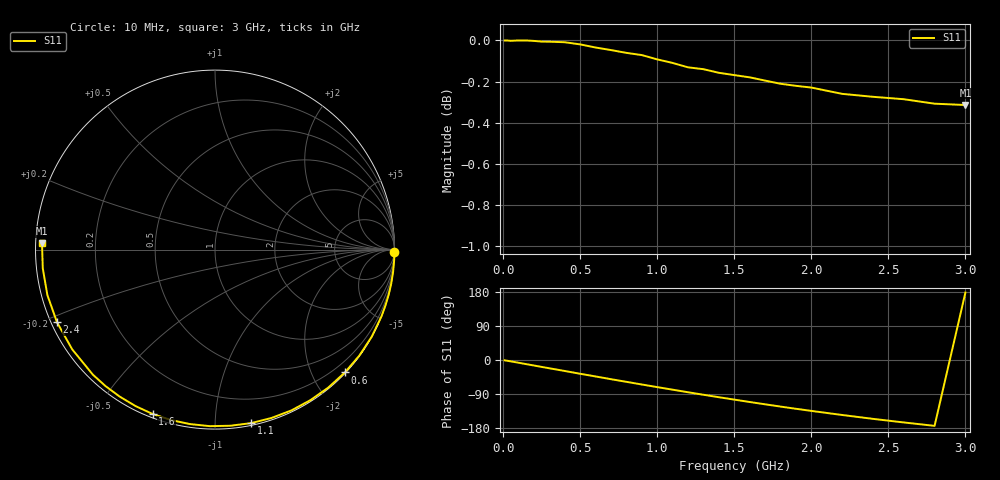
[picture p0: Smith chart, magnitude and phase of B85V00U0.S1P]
! SIEMENS Discrete & RF Semiconductors
! BBY53-03W
! Si Tuning Diode in SOD323
! VR = 5 V
! S-Parameters:  May  1997
# GHz  S  MA  R  50
!  f  S11
! GHz  MAG  ANG
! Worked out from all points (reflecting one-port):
!   30 points, 10 MHz to 3 GHz, reference 50 ohm
!   lowest |S11| = -0.3 dB at 3 GHz (marker M1), VSWR 55.35, Z = 0.904 + j0.916 ohm
!   phase of S11 starts at -1 deg and turns -181 deg over the sweep
!   S11 on the Smith chart (normalised r, x): 10 MHz: open; 600 MHz: 0.01, -2.51; 1.1 GHz: 0.02, -1.23; 1.6 GHz: 0.02, -0.69; 2.4 GHz: 0.02, -0.22; 3 GHz: 0.02, +0.02
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0.01  1 -0.8
0.1  1 -7.2
0.15  1 -10.9
0.2  0.9997 -14.5
0.25  0.9993 -18.2
0.3  0.9993 -21.8
0.4  0.999 -29.0
0.5  0.9978 -36.3
0.6  0.996 -43.4
0.7  0.9946 -50.6
0.8  0.9931 -57.6
0.9  0.9919 -64.6
1  0.9895 -71.5
1.1  0.9875 -78.3
1.2  0.9851 -85.1
1.3  0.984 -91.7
1.4  0.9821 -98.2
1.5  0.9808 -104.5
1.6  0.9796 -110.8
1.7  0.9778 -116.9
1.8  0.976 -122.9
1.9  0.9749 -128.7
2  0.974 -134.3
2.2  0.9706 -145.1
2.4  0.9689 -155.3
2.6  0.9676 -164.8
2.8  0.9652 -173.8
3  0.9645 177.9
